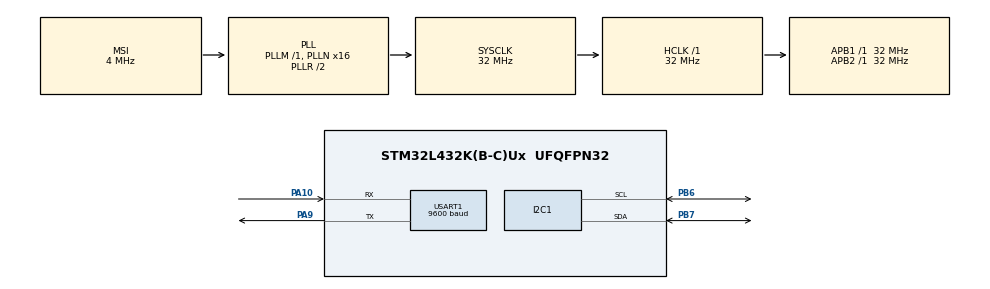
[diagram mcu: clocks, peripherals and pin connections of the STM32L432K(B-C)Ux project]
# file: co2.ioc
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Dma.Request0=USART1_RX
Dma.USART1_RX.0.Direction=DMA_PERIPH_TO_MEMORY
Dma.USART1_RX.0.Instance=DMA1_Channel5
Dma.USART1_RX.0.MemDataAlignment=DMA_MDATAALIGN_BYTE
Dma.USART1_RX.0.MemInc=DMA_MINC_ENABLE
Dma.USART1_RX.0.Mode=DMA_NORMAL
Dma.USART1_RX.0.PeriphDataAlignment=DMA_PDATAALIGN_BYTE
Dma.USART1_RX.0.PeriphInc=DMA_PINC_DISABLE
Dma.USART1_RX.0.Priority=DMA_PRIORITY_LOW
I2C1.Timing=0x00707CBB
Mcu.Family=STM32L4
Mcu.Name=STM32L432K(B-C)Ux
Mcu.Package=UFQFPN32
NVIC.DMA1_Channel5_IRQn=true\:0\:0\:false\:false\:true\:false\:true
NVIC.PriorityGroup=NVIC_PRIORITYGROUP_4
NVIC.USART1_IRQn=true\:0\:0\:false\:false\:true\:true\:true
PA10.GPIO_PuPd=GPIO_NOPULL
PA10.Mode=Asynchronous
PA10.Signal=USART1_RX
PA13\ (JTMS-SWDIO).GPIO_Label=SWDIO
PA13\ (JTMS-SWDIO).Mode=Serial_Wire
PA13\ (JTMS-SWDIO).Signal=SYS_JTMS-SWDIO
PA14\ (JTCK-SWCLK).GPIO_Label=SWCLK
PA14\ (JTCK-SWCLK).Mode=Serial_Wire
PA14\ (JTCK-SWCLK).Signal=SYS_JTCK-SWCLK
PA9.GPIO_PuPd=GPIO_NOPULL
PA9.Mode=Asynchronous
PA9.Signal=USART1_TX
PB6.Mode=I2C
PB6.Signal=I2C1_SCL
PB7.Mode=I2C
PB7.Signal=I2C1_SDA
PC14-OSC32_IN\ (PC14).Mode=LSE-External-Oscillator
PC14-OSC32_IN\ (PC14).Signal=RCC_OSC32_IN
PC15-OSC32_OUT\ (PC15).Mode=LSE-External-Oscillator
PC15-OSC32_OUT\ (PC15).Signal=RCC_OSC32_OUT
ProjectManager.HeapSize=0x200
ProjectManager.StackSize=0x400
ProjectManager.TargetToolchain=Makefile
RCC.ADCFreq_Value=16000000
RCC.AHBFreq_Value=32000000
RCC.APB1Freq_Value=32000000
RCC.APB1TimFreq_Value=32000000
RCC.APB2Freq_Value=32000000
RCC.APB2TimFreq_Value=32000000
RCC.CortexFreq_Value=32000000
RCC.HCLKFreq_Value=32000000
RCC.HSE_VALUE=8000000
RCC.HSI16_VALUE=16000000
RCC.HSI48_VALUE=48000000
RCC.HSI_VALUE=16000000
RCC.MSI_VALUE=4000000
RCC.PLLMUL=RCC_PLLMUL_4
RCC.PLLN=16
RCC.SYSCLKFreq_VALUE=32000000
RCC.SYSCLKSource=RCC_SYSCLKSOURCE_PLLCLK
RCC.USBFreq_Value=16000000
RCC.VCOOutputFreq_Value=64000000
USART1.BaudRate=9600
USART1.DMADisableonRxErrorParam=ADVFEATURE_DMA_ENABLEONRXERROR
USART1.OneBitSampling=UART_ONE_BIT_SAMPLE_ENABLE
USART1.OverSampling=UART_OVERSAMPLING_8
USART1.OverrunDisableParam=ADVFEATURE_OVERRUN_ENABLE
USART1.VirtualMode-Asynchronous=VM_ASYNC
VP_RTC_VS_RTC_Activate.Mode=RTC_Enabled
board=NUCLEO-L432KC

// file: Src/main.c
/* USER CODE BEGIN Header */
/**
  ******************************************************************************
  * @file           : main.c
  * @brief          : Main program body
  ******************************************************************************
  ** This notice applies to any and all portions of this file
  * that are not between comment pairs USER CODE BEGIN and
  * USER CODE END. Other portions of this file, whether
  * inserted by the user or by software development tools
  * are owned by their respective copyright owners.
  *
  * COPYRIGHT(c) 2019 STMicroelectronics
  *
  * Redistribution and use in source and binary forms, with or without modification,
  * are permitted provided that the following conditions are met:
  *   1. Redistributions of source code must retain the above copyright notice,
  *      this list of conditions and the following disclaimer.
  *   2. Redistributions in binary form must reproduce the above copyright notice,
  *      this list of conditions and the following disclaimer in the documentation
  *      and/or other materials provided with the distribution.
  *   3. Neither the name of STMicroelectronics nor the names of its contributors
  *      may be used to endorse or promote products derived from this software
  *      without specific prior written permission.
  *
  * THIS SOFTWARE IS PROVIDED BY THE COPYRIGHT HOLDERS AND CONTRIBUTORS "AS IS"
  * AND ANY EXPRESS OR IMPLIED WARRANTIES, INCLUDING, BUT NOT LIMITED TO, THE
  * IMPLIED WARRANTIES OF MERCHANTABILITY AND FITNESS FOR A PARTICULAR PURPOSE ARE
  * DISCLAIMED. IN NO EVENT SHALL THE COPYRIGHT HOLDER OR CONTRIBUTORS BE LIABLE
  * FOR ANY DIRECT, INDIRECT, INCIDENTAL, SPECIAL, EXEMPLARY, OR CONSEQUENTIAL
  * DAMAGES (INCLUDING, BUT NOT LIMITED TO, PROCUREMENT OF SUBSTITUTE GOODS OR
  * SERVICES; LOSS OF USE, DATA, OR PROFITS; OR BUSINESS INTERRUPTION) HOWEVER
  * CAUSED AND ON ANY THEORY OF LIABILITY, WHETHER IN CONTRACT, STRICT LIABILITY,
  * OR TORT (INCLUDING NEGLIGENCE OR OTHERWISE) ARISING IN ANY WAY OUT OF THE USE
  * OF THIS SOFTWARE, EVEN IF ADVISED OF THE POSSIBILITY OF SUCH DAMAGE.
  *
  ******************************************************************************
  */
/* USER CODE END Header */

#include "main.h"

/* USER CODE BEGIN Includes */
#include <stdbool.h>
#include "../ExtDrivers/SSD1306/ssd1306.h"
#include <stdarg.h>
#include <stdio.h>
#include <stdlib.h>
#include <stdint.h>

/* USER CODE END Includes */

I2C_HandleTypeDef hi2c1;

RTC_HandleTypeDef hrtc;

UART_HandleTypeDef huart1;
DMA_HandleTypeDef hdma_usart1_rx;

void SystemClock_Config(void);
static void MX_GPIO_Init(void);
static void MX_DMA_Init(void);
static void MX_I2C1_Init(void);
static void MX_USART1_UART_Init(void);
static void MX_RTC_Init(void);

/* USER CODE BEGIN 0 */
//CO2 sensor data
uint8_t readCO2[9] = {0xFF, 0x01, 0x86, 0x00, 0x00, 0x00, 0x00, 0x00, 0x79};
uint8_t buffer[] = {0x00, 0x00, 0x00, 0x00, 0x00, 0x00, 0x00, 0x00, 0x00};
char strBuf[128];
size_t strBufLen = sizeof(strBuf);
bool firstTime = true;

void error(void)
{
  HAL_Delay(HAL_MAX_DELAY);
}
//Checksum calculation
uint8_t getCheckSum(uint8_t *packet)
{
  uint8_t i, checksum = 0;
  for (i = 1; i < 8; i++)
  {
    checksum += packet[i];
  }
  checksum = 0xff - checksum;
  checksum += 1;
  return checksum;
}
void loop()
{

  HAL_StatusTypeDef status;

  //Send get reading command
  status = HAL_UART_Transmit(&huart1, readCO2, 9, 100 ); //, HAL_MAX_DELAY
  if (status != HAL_OK) {
    ssd1306_WriteString("CO2: TX ERR      ", Font_7x10, White);
    ssd1306_UpdateScreen();
    ssd1306_SetCursor(0, 0);
    return;
  }

  //Read command response
  status = HAL_UART_Receive_DMA(&huart1, buffer, 9);
  if (status != HAL_OK)
  {
    ssd1306_WriteString("CO2: RX ERR      ", Font_7x10, White);
  }
  else if (buffer[8] == getCheckSum(buffer))
  {
    //If all OK - printt PPM
    uint16_t co2 = buffer[2] * 256 + buffer[3];
    uint16_t temp = buffer[4] - 40;

    char *message = asnprintf(strBuf, &strBufLen-1, "CO2: %d T:%d", co2, temp);

    ssd1306_WriteString(message, Font_7x10, White);

  }
  else
  {
    ssd1306_WriteString("CO2: CHK ERR", Font_7x10, White);
  }

  ssd1306_UpdateScreen();
  ssd1306_SetCursor(0, 0);
}
/* USER CODE END 0 */

int main(void)
{

  /* MCU Configuration--------------------------------------------------------*/

  /* Reset of all peripherals, Initializes the Flash interface and the Systick. */
  HAL_Init();

  /* Configure the system clock */
  SystemClock_Config();

  /* Initialize all configured peripherals */
  MX_GPIO_Init();
  MX_DMA_Init();
  MX_I2C1_Init();
  MX_USART1_UART_Init();
  MX_RTC_Init();
  /* USER CODE BEGIN 2 */

  //Init OLED
  ssd1306_Init();
  ssd1306_WriteString("CO2: Warmup", Font_7x10, White);
  ssd1306_UpdateScreen();
  ssd1306_SetCursor(0, 0);

  //CO2 warmup delay
  HAL_Delay(2000);

  //Update warmup status
  ssd1306_WriteString("CO2: Init  ", Font_7x10, White);
  ssd1306_UpdateScreen();
  ssd1306_SetCursor(0, 0);

  /* USER CODE END 2 */

  /* Infinite loop */
  /* USER CODE BEGIN WHILE */
  while (1)
  {
    loop();
    HAL_Delay(5000);
    /* USER CODE END WHILE */

  }
}

void SystemClock_Config(void)
{
  RCC_OscInitTypeDef RCC_OscInitStruct = {0};
  RCC_ClkInitTypeDef RCC_ClkInitStruct = {0};
  RCC_PeriphCLKInitTypeDef PeriphClkInit = {0};

  /** Configure LSE Drive Capability
  */
  HAL_PWR_EnableBkUpAccess();
  __HAL_RCC_LSEDRIVE_CONFIG(RCC_LSEDRIVE_LOW);
  /** Initializes the CPU, AHB and APB busses clocks
  */
  RCC_OscInitStruct.OscillatorType = RCC_OSCILLATORTYPE_LSI|RCC_OSCILLATORTYPE_LSE
                              |RCC_OSCILLATORTYPE_MSI;
  RCC_OscInitStruct.LSEState = RCC_LSE_ON;
  RCC_OscInitStruct.LSIState = RCC_LSI_ON;
  RCC_OscInitStruct.MSIState = RCC_MSI_ON;
  RCC_OscInitStruct.MSICalibrationValue = 0;
  RCC_OscInitStruct.MSIClockRange = RCC_MSIRANGE_6;
  RCC_OscInitStruct.PLL.PLLState = RCC_PLL_ON;
  RCC_OscInitStruct.PLL.PLLSource = RCC_PLLSOURCE_MSI;
  RCC_OscInitStruct.PLL.PLLM = 1;
  RCC_OscInitStruct.PLL.PLLN = 16;
  RCC_OscInitStruct.PLL.PLLP = RCC_PLLP_DIV7;
  RCC_OscInitStruct.PLL.PLLQ = RCC_PLLQ_DIV2;
  RCC_OscInitStruct.PLL.PLLR = RCC_PLLR_DIV2;
  if (HAL_RCC_OscConfig(&RCC_OscInitStruct) != HAL_OK)
  {
    Error_Handler();
  }
  /** Initializes the CPU, AHB and APB busses clocks
  */
  RCC_ClkInitStruct.ClockType = RCC_CLOCKTYPE_HCLK|RCC_CLOCKTYPE_SYSCLK
                              |RCC_CLOCKTYPE_PCLK1|RCC_CLOCKTYPE_PCLK2;
  RCC_ClkInitStruct.SYSCLKSource = RCC_SYSCLKSOURCE_PLLCLK;
  RCC_ClkInitStruct.AHBCLKDivider = RCC_SYSCLK_DIV1;
  RCC_ClkInitStruct.APB1CLKDivider = RCC_HCLK_DIV1;
  RCC_ClkInitStruct.APB2CLKDivider = RCC_HCLK_DIV1;

  if (HAL_RCC_ClockConfig(&RCC_ClkInitStruct, FLASH_LATENCY_1) != HAL_OK)
  {
    Error_Handler();
  }
  PeriphClkInit.PeriphClockSelection = RCC_PERIPHCLK_RTC|RCC_PERIPHCLK_USART1
                              |RCC_PERIPHCLK_I2C1;
  PeriphClkInit.Usart1ClockSelection = RCC_USART1CLKSOURCE_PCLK2;
  PeriphClkInit.I2c1ClockSelection = RCC_I2C1CLKSOURCE_PCLK1;
  PeriphClkInit.RTCClockSelection = RCC_RTCCLKSOURCE_LSI;
  if (HAL_RCCEx_PeriphCLKConfig(&PeriphClkInit) != HAL_OK)
  {
    Error_Handler();
  }
  /** Configure the main internal regulator output voltage
  */
  if (HAL_PWREx_ControlVoltageScaling(PWR_REGULATOR_VOLTAGE_SCALE1) != HAL_OK)
  {
    Error_Handler();
  }
  /** Enable MSI Auto calibration
  */
  HAL_RCCEx_EnableMSIPLLMode();
}

static void MX_I2C1_Init(void)
{

  hi2c1.Instance = I2C1;
  hi2c1.Init.Timing = 0x00707CBB;
  hi2c1.Init.OwnAddress1 = 0;
  hi2c1.Init.AddressingMode = I2C_ADDRESSINGMODE_7BIT;
  hi2c1.Init.DualAddressMode = I2C_DUALADDRESS_DISABLE;
  hi2c1.Init.OwnAddress2 = 0;
  hi2c1.Init.OwnAddress2Masks = I2C_OA2_NOMASK;
  hi2c1.Init.GeneralCallMode = I2C_GENERALCALL_DISABLE;
  hi2c1.Init.NoStretchMode = I2C_NOSTRETCH_DISABLE;
  if (HAL_I2C_Init(&hi2c1) != HAL_OK)
  {
    Error_Handler();
  }
  /** Configure Analogue filter
  */
  if (HAL_I2CEx_ConfigAnalogFilter(&hi2c1, I2C_ANALOGFILTER_ENABLE) != HAL_OK)
  {
    Error_Handler();
  }
  /** Configure Digital filter
  */
  if (HAL_I2CEx_ConfigDigitalFilter(&hi2c1, 0) != HAL_OK)
  {
    Error_Handler();
  }

}

static void MX_RTC_Init(void)
{

  /** Initialize RTC Only
  */
  hrtc.Instance = RTC;
  hrtc.Init.HourFormat = RTC_HOURFORMAT_24;
  hrtc.Init.AsynchPrediv = 127;
  hrtc.Init.SynchPrediv = 255;
  hrtc.Init.OutPut = RTC_OUTPUT_DISABLE;
  hrtc.Init.OutPutRemap = RTC_OUTPUT_REMAP_NONE;
  hrtc.Init.OutPutPolarity = RTC_OUTPUT_POLARITY_HIGH;
  hrtc.Init.OutPutType = RTC_OUTPUT_TYPE_OPENDRAIN;
  if (HAL_RTC_Init(&hrtc) != HAL_OK)
  {
    Error_Handler();
  }

}

static void MX_USART1_UART_Init(void)
{

  huart1.Instance = USART1;
  huart1.Init.BaudRate = 9600;
  huart1.Init.WordLength = UART_WORDLENGTH_8B;
  huart1.Init.StopBits = UART_STOPBITS_1;
  huart1.Init.Parity = UART_PARITY_NONE;
  huart1.Init.Mode = UART_MODE_TX_RX;
  huart1.Init.HwFlowCtl = UART_HWCONTROL_NONE;
  huart1.Init.OverSampling = UART_OVERSAMPLING_8;
  huart1.Init.OneBitSampling = UART_ONE_BIT_SAMPLE_ENABLE;
  huart1.AdvancedInit.AdvFeatureInit = UART_ADVFEATURE_NO_INIT;
  if (HAL_UART_Init(&huart1) != HAL_OK)
  {
    Error_Handler();
  }

}

static void MX_DMA_Init(void)
{
  /* DMA controller clock enable */
  __HAL_RCC_DMA1_CLK_ENABLE();

  /* DMA interrupt init */
  /* DMA1_Channel5_IRQn interrupt configuration */
  HAL_NVIC_SetPriority(DMA1_Channel5_IRQn, 0, 0);
  HAL_NVIC_EnableIRQ(DMA1_Channel5_IRQn);

}

static void MX_GPIO_Init(void)
{
  GPIO_InitTypeDef GPIO_InitStruct = {0};

  /* GPIO Ports Clock Enable */
  __HAL_RCC_GPIOC_CLK_ENABLE();
  __HAL_RCC_GPIOA_CLK_ENABLE();
  __HAL_RCC_GPIOB_CLK_ENABLE();
  __HAL_RCC_GPIOH_CLK_ENABLE();

  /*Configure GPIO pins : PA0 PA1 PA2 PA3
                           PA4 PA5 PA6 PA7
                           PA8 PA11 PA12 PA15 */
  GPIO_InitStruct.Pin = GPIO_PIN_0|GPIO_PIN_1|GPIO_PIN_2|GPIO_PIN_3
                          |GPIO_PIN_4|GPIO_PIN_5|GPIO_PIN_6|GPIO_PIN_7
                          |GPIO_PIN_8|GPIO_PIN_11|GPIO_PIN_12|GPIO_PIN_15;
  GPIO_InitStruct.Mode = GPIO_MODE_ANALOG;
  GPIO_InitStruct.Pull = GPIO_NOPULL;
  HAL_GPIO_Init(GPIOA, &GPIO_InitStruct);

  /*Configure GPIO pins : PB0 PB1 PB3 PB4
                           PB5 */
  GPIO_InitStruct.Pin = GPIO_PIN_0|GPIO_PIN_1|GPIO_PIN_3|GPIO_PIN_4
                          |GPIO_PIN_5;
  GPIO_InitStruct.Mode = GPIO_MODE_ANALOG;
  GPIO_InitStruct.Pull = GPIO_NOPULL;
  HAL_GPIO_Init(GPIOB, &GPIO_InitStruct);

  /*Configure GPIO pin : PH3 */
  GPIO_InitStruct.Pin = GPIO_PIN_3;
  GPIO_InitStruct.Mode = GPIO_MODE_ANALOG;
  GPIO_InitStruct.Pull = GPIO_NOPULL;
  HAL_GPIO_Init(GPIOH, &GPIO_InitStruct);

}

void Error_Handler(void)
{
}

/************************ (C) COPYRIGHT STMicroelectronics *****END OF FILE****/
